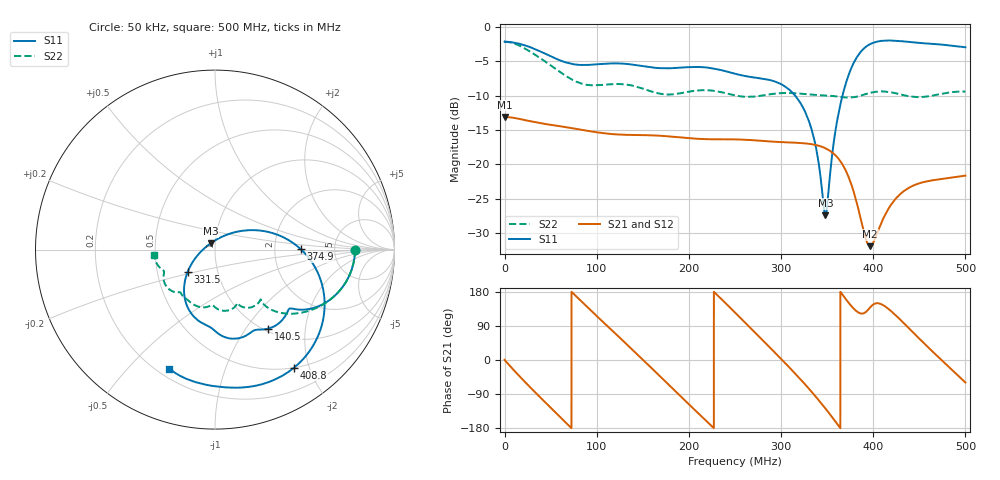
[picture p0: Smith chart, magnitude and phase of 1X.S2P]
!Keysight Technologies,E5063A,MY54100949,A.07.30
!Date: Fri Dec 26 02:39:25 2025
!Data & Calibration Information:
!Freq	S11:SOLT2(ON)	S21:SOLT2(ON)	S12:SOLT2(ON)	S22:SOLT2(ON)
# Hz S RI R 50
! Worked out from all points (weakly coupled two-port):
!   10001 points, 50 kHz to 500 MHz, reference 50 ohm
!   highest |S21| = -13.10 dB at 200 kHz (marker M1); lowest = -31.9 dB at 396.6 MHz (marker M2)
!   lowest |S11| = -27.4 dB at 348.2 MHz (marker M3), VSWR 1.09, Z = 47.5 + j3.32 ohm
!   |S11| at or under -10 dB: 315.3 MHz to 366.6 MHz (51.26 MHz wide, 15 % of centre)
!   |S22| runs from -10.3 to -2.1 dB; largest |S21 - S12| = 0.00045
!   S11 on the Smith chart (normalised r, x): 50 kHz: 8.17, -0.02; 140.5 MHz: 1.04, -1.28; 331.5 MHz: 0.72, -0.18; 374.9 MHz: 2.83, +0.02; 408.8 MHz: 0.50, -1.76; 500 MHz: 0.25, -0.66
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50000  0.782 -0.000378  0.2196 0.00237  0.2201 0.00251  0.7824 -0.000694
199985  0.78 -0.00338  0.2214 -0.0016  0.2214 -0.00163  0.7796 -0.00451
3.639636e7  0.6026 -0.3033  -0.0104 -0.2006  -0.0106 -0.2005  0.4973 -0.3482
6.129388e7  0.4593 -0.3335  -0.1684 -0.0861  -0.1683 -0.0859  0.3197 -0.3377
8.339166e7  0.4134 -0.3299  -0.1614 0.0769  -0.1612 0.077  0.2593 -0.2879
1.111389e8  0.3816 -0.3841  -0.00142 0.1677  -0.00133 0.1676  0.2477 -0.2898
1.40486e8  0.2952 -0.4407  0.1505 0.0647  0.1504 0.0646  0.1819 -0.3242
1.667333e8  0.2297 -0.4468  0.1267 -0.101  0.1266 -0.1011  0.1284 -0.3027
2.162784e8  0.1125 -0.4964  -0.1383 -0.0653  -0.1384 -0.0652  0.074 -0.3389
2.50025e8  0.00423 -0.4569  -0.0879 0.1241  -0.0879 0.1242  -0.00331 -0.318
2.955204e8  -0.1114 -0.3799  0.1415 0.0357  0.1416 0.0355  -0.0645 -0.3218
3.314669e8  -0.1519 -0.1228  0.0264 -0.1385  0.0264 -0.1386  -0.1428 -0.2892
3.333667e8  -0.1438 -0.1043  0.0134 -0.1397  0.0133 -0.1398  -0.1456 -0.2869
3.481652e8  -0.0244 0.0349  -0.0808 -0.1033  -0.0808 -0.1034  -0.1681 -0.2691
3.608639e8  0.1785 0.1075  -0.1109 -0.0225  -0.1109 -0.0225  -0.1851 -0.2511
3.749125e8  0.4778 0.00243  -0.0631 0.0422  -0.0631 0.0422  -0.1944 -0.237
3.853615e8  0.604 -0.229  -0.0239 0.0359  -0.0239 0.0359  -0.2069 -0.2379
3.966103e8  0.5736 -0.4824  -0.0191 0.0168  -0.0192 0.0168  -0.2359 -0.2329
4.087591e8  0.4407 -0.6577  -0.0316 0.0203  -0.0317 0.0203  -0.2684 -0.208
4.167083e8  0.3428 -0.7197  -0.0336 0.0342  -0.0336 0.0342  -0.2817 -0.1845
4.444556e8  0.0698 -0.7683  0.0244 0.0664  0.0243 0.0664  -0.2833 -0.1247
5e8  -0.2551 -0.6635  0.0422 -0.0714  0.0422 -0.0715  -0.3374 -0.0303
